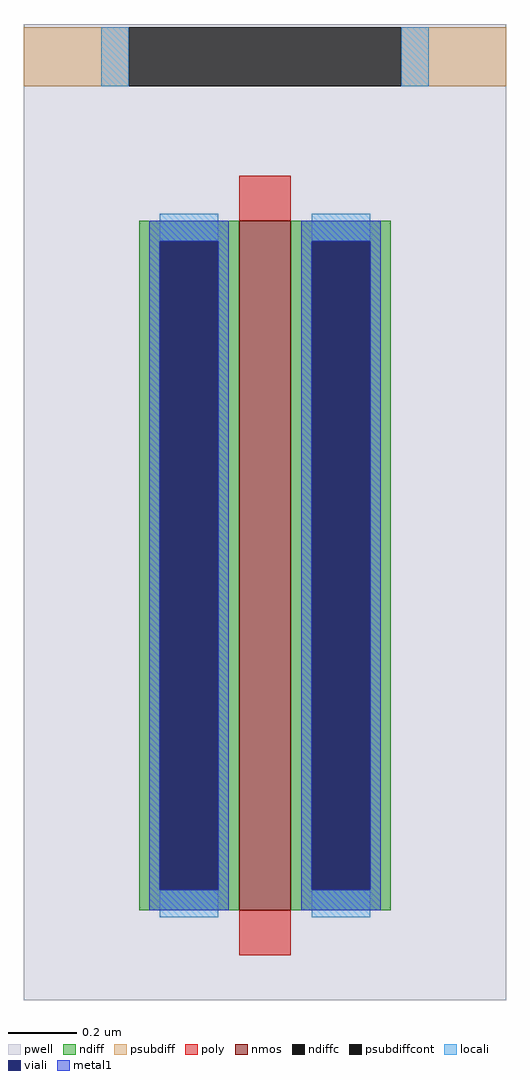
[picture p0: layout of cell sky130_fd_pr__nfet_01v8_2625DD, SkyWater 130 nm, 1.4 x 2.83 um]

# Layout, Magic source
magic
tech sky130A
magscale 1 2
<< pwell >>
rect -140 -252 140 314
<< nmos >>
rect -15 -200 15 200
<< ndiff >>
rect -73 188 -15 200
rect -73 -188 -61 188
rect -27 -188 -15 188
rect -73 -200 -15 -188
rect 15 188 73 200
rect 15 -188 27 188
rect 61 -188 73 188
rect 15 -200 73 -188
<< ndiffc >>
rect -61 -188 -27 188
rect 27 -188 61 188
<< psubdiff >>
rect -140 278 -79 312
rect 79 278 140 312
<< psubdiffcont >>
rect -79 278 79 312
<< poly >>
rect -15 200 15 226
rect -15 -226 15 -200
<< locali >>
rect -95 278 -79 312
rect 79 278 95 312
rect -61 188 -27 204
rect -61 -204 -27 -188
rect 27 188 61 204
rect 27 -204 61 -188
<< viali >>
rect -61 -188 -27 188
rect 27 -188 61 188
<< metal1 >>
rect -67 188 -21 200
rect -67 -188 -61 188
rect -27 -188 -21 188
rect -67 -200 -21 -188
rect 21 188 67 200
rect 21 -188 27 188
rect 61 -188 67 188
rect 21 -200 67 -188
<< properties >>
string FIXED_BBOX -158 -295 158 295
string gencell sky130_fd_pr__nfet_01v8
string library sky130
string parameters w 2.0 l 0.15 m 1 nf 1 diffcov 100 polycov 100 guard 1 glc 0 grc 0 gtc 1 gbc 0 tbcov 100 rlcov 100 topc 0 botc 0 poverlap 0 doverlap 1 lmin 0.15 wmin 0.42 compatible {sky130_fd_pr__nfet_01v8 sky130_fd_pr__nfet_01v8_lvt  sky130_fd_bs_flash__special_sonosfet_star  sky130_fd_pr__nfet_g5v0d10v5 sky130_fd_pr__nfet_05v0_nvt  sky130_fd_pr__nfet_03v3_nvt} full_metal 0 viasrc 100 viadrn 100 viagate 100 viagb 0 viagr 0 viagl 0 viagt 0
<< end >>
